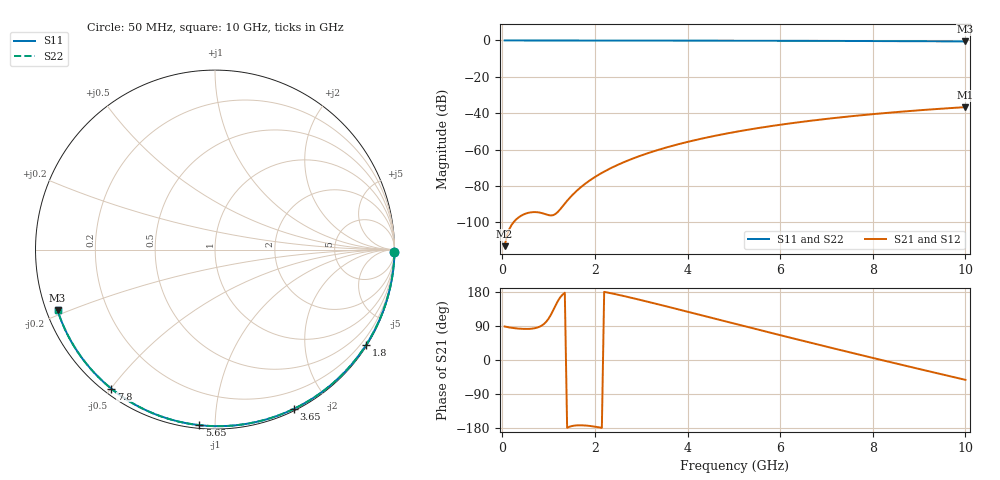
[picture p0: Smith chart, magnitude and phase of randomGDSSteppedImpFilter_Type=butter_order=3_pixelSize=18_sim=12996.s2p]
! freq	dB(S11)	phase(S11)	dB(S12)	phase(S12)
!  dB(S21)	phase(S21)	dB(S22)	phase(S22)
!S-par simulation data
#  GHz  S  DB  R 50
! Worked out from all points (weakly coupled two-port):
!   200 points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, 50 MHz to 10 GHz, reference 50 ohm
!   highest |S21| = -36.65 dB at 10 GHz (marker M1); lowest = -113.1 dB at 50 MHz (marker M2)
!   lowest |S11| = -0.5 dB at 10 GHz (marker M3), VSWR 32.44, Z = 1.59 - j9.31 ohm
!   |S11| at or under -10 dB: nowhere
!   |S22| runs from -0.5 to 0.0 dB; largest |S21 - S12| = 0
!   S11 on the Smith chart (normalised r, x): 50 MHz: open; 1.8 GHz: 0.03, -3.46; 3.65 GHz: 0.02, -1.61; 5.65 GHz: 0.02, -0.91; 7.8 GHz: 0.02, -0.50; 10 GHz: 0.03, -0.19
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0.05  -0.00 -0.9  -113.07 88.5  -113.07 88.5  -0.00 -0.9
0.45  -0.01 -8.2  -95.76 82.1  -95.76 82.1  -0.01 -8.2
0.9  -0.02 -16.3  -95.22 95.1  -95.22 95.1  -0.02 -16.3
1.7  -0.04 -30.5  -80.57 -172.3  -80.57 -172.3  -0.04 -30.5
1.75  -0.04 -31.4  -79.54 -172.5  -79.54 -172.5  -0.04 -31.4
1.8  -0.04 -32.2  -78.56 -172.9  -78.56 -172.9  -0.04 -32.2
2.1  -0.05 -37.5  -73.52 -177.9  -73.52 -177.9  -0.05 -37.5
2.3  -0.05 -40.9  -70.74 177.4  -70.74 177.4  -0.05 -40.9
2.5  -0.06 -44.4  -68.30 172.2  -68.30 172.2  -0.06 -44.4
2.9  -0.07 -51.2  -64.13 160.9  -64.13 160.9  -0.07 -51.2
3.4  -0.08 -59.6  -59.89 145.9  -59.89 145.9  -0.08 -59.6
3.65  -0.09 -63.7  -58.06 138.3  -58.06 138.3  -0.09 -63.7
4.3  -0.11 -74.2  -53.99 118.1  -53.99 118.1  -0.11 -74.2
5.05  -0.13 -86.0  -50.19 94.8  -50.19 94.8  -0.13 -86.0
5.65  -0.16 -95.1  -47.65 76.3  -47.65 76.3  -0.16 -95.1
6.15  -0.18 -102.6  -45.80 61.0  -45.80 61.0  -0.18 -102.6
6.7  -0.22 -110.8  -44.00 44.3  -44.00 44.3  -0.22 -110.8
7.25  -0.25 -118.8  -42.41 27.8  -42.41 27.8  -0.25 -118.8
7.8  -0.30 -126.7  -40.99 11.4  -40.99 11.4  -0.30 -126.7
8.35  -0.35 -134.7  -39.71 -4.8  -39.71 -4.8  -0.35 -134.7
9.2  -0.44 -147.0  -38.00 -29.4  -38.00 -29.4  -0.44 -147.0
10  -0.54 -158.9  -36.65 -52.4  -36.65 -52.4  -0.54 -158.9
